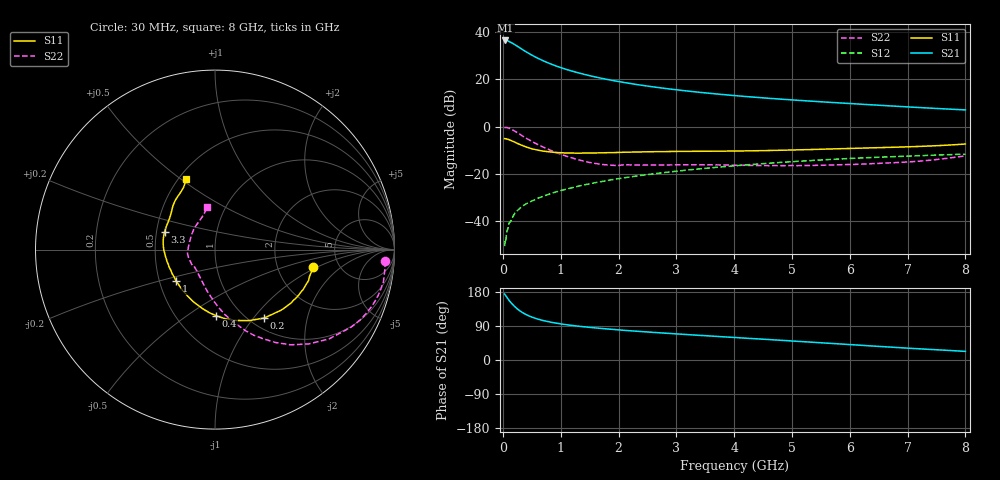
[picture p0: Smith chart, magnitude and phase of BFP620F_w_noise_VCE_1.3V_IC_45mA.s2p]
! Infineon Technologies  Discrete & RF Semiconductors
! BFP620F
! VCE =  1.3 V,  IC =  45 mA
! Common Emitter S-Parameters:  Dec 2014
# GHz  S  MA  R  50
!  f  S11  S21  S12  S22
! GHz  MAG  ANG  MAG  ANG  MAG  ANG  MAG  ANG
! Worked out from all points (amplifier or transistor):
!   95 points, 30 MHz to 8 GHz, reference 50 ohm
!   highest |S21| = 36.5 dB at 40 MHz (marker M1)
!   |S21| within 3 dB of that: start of sweep to 284.8 MHz
!   unconditionally stable (mu >= 1): 2.006 GHz to end of sweep
!   at 300 MHz: K = 0.47, MSG = 33.9 dB, |S12| = -34.6 dB
!   at 3.3 GHz: K = 1.03, MAG = 15.5 dB, |S12| = -18.2 dB
!   at 8 GHz: K = 1.05, MAG = 8.0 dB, |S12| = -11.7 dB
!   lowest NFmin = 1.45 dB at 450 MHz
!   S11 on the Smith chart (normalised r, x): 30 MHz: 3.22, -0.89; 200 MHz: 1.16, -1.14; 400 MHz: 0.77, -0.66; 1 GHz: 0.61, -0.23; 3.3 GHz: 0.55, +0.12; 8 GHz: 0.54, +0.52
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0.03  0.5543 -9.9  66.69 174.1  0.0029 94.1  0.9476 -3.9
0.04  0.552 -12.6  66.85 171.8  0.0037 98.8  0.9528 -6.2
0.07  0.5428 -21.3  66.19 165.3  0.0061 83.3  0.9501 -13.3
0.11  0.5213 -32.6  63.27 156.8  0.0091 79.5  0.9192 -21.9
0.15  0.4989 -42.7  59.88 149.6  0.0108 78.1  0.8724 -29.7
0.2  0.4697 -54.2  55.06 141.6  0.0141 74.0  0.8062 -38.2
0.25  0.4393 -64.2  50.41 134.8  0.0165 70.8  0.7397 -45.3
0.3  0.4126 -73.2  46.04 129.0  0.0187 68.0  0.6768 -51.6
0.35  0.3899 -81.5  42 124.2  0.0209 67.1  0.6188 -56.8
0.4  0.3687 -88.9  38.54 120.0  0.0228 67.1  0.5673 -61.4
0.5  0.3376 -101.2  32.71 113.3  0.0262 65.8  0.4838 -69.3
0.6  0.3161 -111.9  28.21 108.1  0.03 65.7  0.4169 -75.7
0.8  0.2906 -128.4  21.9 100.7  0.0368 65.8  0.3224 -86.5
1  0.2785 -141.0  17.79 95.3  0.0438 66.1  0.2592 -95.8
1.4  0.2735 -159.2  12.83 87.7  0.0575 65.8  0.1843 -114.6
2  0.2818 -176.9  9 79.5  0.0783 63.9  0.1491 -141.9
2.7  0.2935 169.5  6.678 71.9  0.1024 60.4  0.1522 -159.5
3.3  0.2983 160.3  5.476 66.0  0.1231 56.9  0.1542 -168.6
4.1  0.303 149.6  4.433 58.5  0.1498 51.8  0.1508 -179.6
5.4  0.3271 137.2  3.409 46.4  0.1921 42.5  0.1501 156.0
6.7  0.3616 125.0  2.736 34.1  0.2281 32.5  0.1696 129.5
8  0.425 112.5  2.25 22.7  0.2594 22.8  0.2387 100.2
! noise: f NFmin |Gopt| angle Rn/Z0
0.45  1.45  0.18  -172  0.16
0.9  1.48  0.18  -172  0.14
1.5  1.49  0.23  -153  0.1
1.8  1.5  0.23  -152  0.1
1.9  1.5  0.23  -151  0.11
2.4  1.52  0.24  213  0.12
3.5  1.58  0.24  220  0.15
5.5  1.72  0.29  248  0.19
6  1.76  0.29  261  0.24
